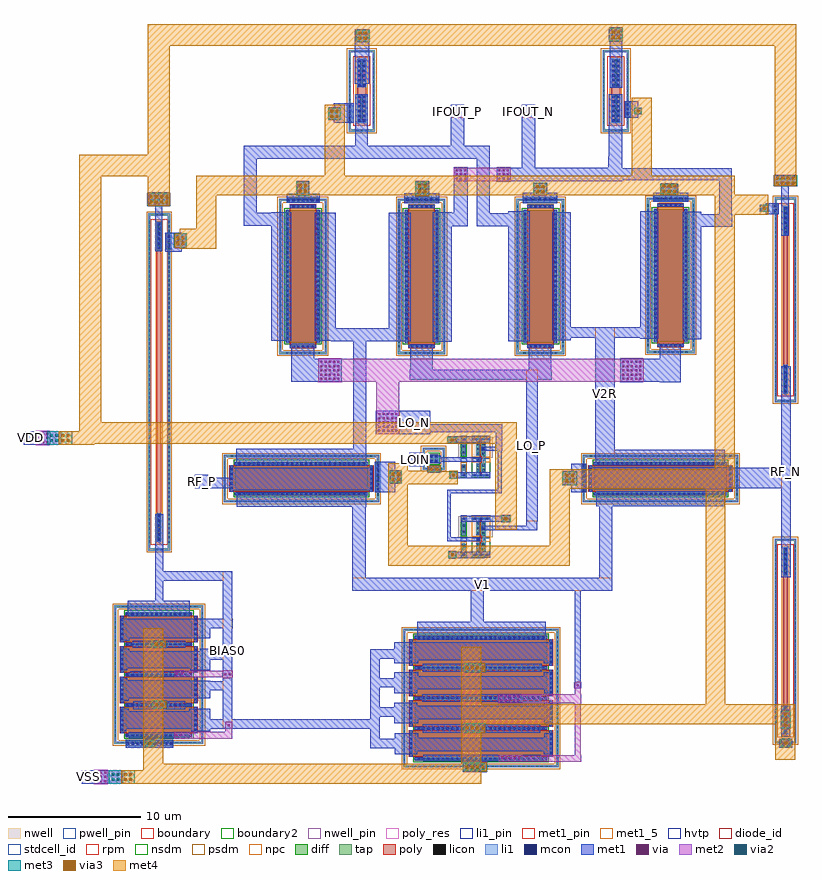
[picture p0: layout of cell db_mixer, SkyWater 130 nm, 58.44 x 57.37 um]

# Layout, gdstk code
from math import pi, radians
import gdstk
lib = gdstk.Library(unit=1e-6, precision=1e-09)
def R(c, l, rs):  # rectangles x0, y0, x1, y1
    for r in rs: c.add(gdstk.rectangle(r[:2], r[2:], *l))
def A(c, l, x, y, w, h, nx, ny, dx, dy):  # array of equal rectangles
    R(c, l, [(x+i*dx, y+j*dy, x+i*dx+w, y+j*dy+h) for i in range(nx) for j in range(ny)])
def P(c, l, *ps):  # polygons
    for p in ps: c.add(gdstk.Polygon(p, *l))
nwell_pin = (64, 16)
nwell = (64, 20)
diff = (65, 20)
tap = (65, 44)
poly_res = (66, 13)
poly = (66, 20)
licon = (66, 44)
li1_pin = (67, 16)
li1 = (67, 20)
mcon = (67, 44)
met1_5 = (68, 5)
met1_pin = (68, 16)
met1 = (68, 20)
via = (68, 44)
met2 = (69, 20)
via2 = (69, 44)
met3 = (70, 20)
via3 = (70, 44)
met4 = (71, 20)
hvtp = (78, 44)
stdcell_id = (81, 4)
diode_id = (81, 23)
rpm = (86, 20)
nsdm = (93, 44)
psdm = (94, 20)
npc = (95, 20)
pwell_pin = (122, 16)
boundary = (235, 4)
boundary2 = (236, 0)

sky130_fd_pr__res_high_p = lib.new_cell('sky130_fd_pr__res_high_po_0p35_FFK5MY')
R(sky130_fd_pr__res_high_p, tap, [(-0.825,-7.73,0.825,-7.56), (-0.825,-7.56,-0.655,7.56), (0.655,-7.56,0.825,7.56), (-0.825,7.56,0.825,7.73)])
R(sky130_fd_pr__res_high_p, poly_res, [(-0.175,-5,0.175,5)])
R(sky130_fd_pr__res_high_p, poly, [(-0.175,-7.08,0.175,7.08)])
A(sky130_fd_pr__res_high_p, licon, -0.825, -7.225, 0.17, 0.17, 1, 43, 0, 0.34)
A(sky130_fd_pr__res_high_p, licon, 0.655, -7.225, 0.17, 0.17, 1, 43, 0, 0.34)
R(sky130_fd_pr__res_high_p, licon, [(-0.255,-7.73,-0.085,-7.56), (0.085,-7.73,0.255,-7.56), (-0.095,-7,0.095,-5), (-0.095,5,0.095,7), (-0.255,7.56,-0.085,7.73), (0.085,7.56,0.255,7.73)])
R(sky130_fd_pr__res_high_p, li1, [(-0.825,-7.73,0.825,-7.56), (-0.825,-7.56,-0.655,7.56), (0.655,-7.56,0.825,7.56), (-0.175,-7.08,0.175,-4.92), (-0.175,4.92,0.175,7.08), (-0.825,7.56,0.825,7.73)])
A(sky130_fd_pr__res_high_p, mcon, -0.085, -6.985, 0.17, 0.17, 1, 6, 0, 0.36)
A(sky130_fd_pr__res_high_p, mcon, -0.085, 5.01, 0.17, 0.17, 1, 6, 0, 0.36)
R(sky130_fd_pr__res_high_p, met1, [(-0.125,-7.05,0.125,-4.945), (-0.125,4.945,0.125,7.05)])
R(sky130_fd_pr__res_high_p, rpm, [(-0.635,-7.28,0.635,7.28)])
R(sky130_fd_pr__res_high_p, psdm, [(-0.95,-7.855,0.95,7.855)])
R(sky130_fd_pr__res_high_p, npc, [(-0.27,-7.175,0.27,7.175)])
R(sky130_fd_pr__res_high_p, boundary, [(-0.74,-7.645,0.74,7.645)])

c_sky130_fd_pr__res_high_p = lib.new_cell('sky130_fd_pr__res_high_po_0p35_QPS5FG')
R(c_sky130_fd_pr__res_high_p, tap, [(-0.825,-12.73,0.825,-12.56), (-0.825,-12.56,-0.655,12.56), (0.655,-12.56,0.825,12.56), (-0.825,12.56,0.825,12.73)])
R(c_sky130_fd_pr__res_high_p, poly_res, [(-0.175,-10,0.175,10)])
R(c_sky130_fd_pr__res_high_p, poly, [(-0.175,-12.08,0.175,12.08)])
A(c_sky130_fd_pr__res_high_p, licon, -0.825, -12.155, 0.17, 0.17, 1, 72, 0, 0.34)
A(c_sky130_fd_pr__res_high_p, licon, 0.655, -12.155, 0.17, 0.17, 1, 72, 0, 0.34)
R(c_sky130_fd_pr__res_high_p, licon, [(-0.255,-12.73,-0.085,-12.56), (0.085,-12.73,0.255,-12.56), (-0.095,-12,0.095,-10), (-0.095,10,0.095,12), (-0.255,12.56,-0.085,12.73), (0.085,12.56,0.255,12.73)])
R(c_sky130_fd_pr__res_high_p, li1, [(-0.825,-12.73,0.825,-12.56), (-0.825,-12.56,-0.655,12.56), (0.655,-12.56,0.825,12.56), (-0.175,-12.08,0.175,-9.92), (-0.175,9.92,0.175,12.08), (-0.825,12.56,0.825,12.73)])
A(c_sky130_fd_pr__res_high_p, mcon, -0.085, -11.985, 0.17, 0.17, 1, 6, 0, 0.36)
A(c_sky130_fd_pr__res_high_p, mcon, -0.085, 10.01, 0.17, 0.17, 1, 6, 0, 0.36)
R(c_sky130_fd_pr__res_high_p, met1, [(-0.125,-12.05,0.125,-9.945), (-0.125,9.945,0.125,12.05)])
R(c_sky130_fd_pr__res_high_p, rpm, [(-0.635,-12.28,0.635,12.28)])
R(c_sky130_fd_pr__res_high_p, psdm, [(-0.95,-12.855,0.95,12.855)])
R(c_sky130_fd_pr__res_high_p, npc, [(-0.27,-12.175,0.27,12.175)])
R(c_sky130_fd_pr__res_high_p, boundary, [(-0.74,-12.645,0.74,12.645)])

c_sky130_fd_pr__res_high_p_ = lib.new_cell('sky130_fd_pr__res_high_po_0p69_ZKG2N9')
R(c_sky130_fd_pr__res_high_p_, tap, [(-0.995,-3.075,0.995,-2.905), (-0.995,-2.905,-0.825,2.905), (0.825,-2.905,0.995,2.905), (-0.995,2.905,0.995,3.075)])
R(c_sky130_fd_pr__res_high_p_, poly_res, [(-0.345,-0.345,0.345,0.345)])
R(c_sky130_fd_pr__res_high_p_, poly, [(-0.345,-2.425,0.345,2.425)])
A(c_sky130_fd_pr__res_high_p_, licon, -0.425, -3.075, 0.17, 0.17, 3, 2, 0.34, 5.98)
A(c_sky130_fd_pr__res_high_p_, licon, -0.995, -2.465, 0.17, 0.17, 1, 15, 0, 0.34)
A(c_sky130_fd_pr__res_high_p_, licon, 0.825, -2.465, 0.17, 0.17, 1, 15, 0, 0.34)
R(c_sky130_fd_pr__res_high_p_, licon, [(-0.095,-2.345,0.095,-0.345), (-0.095,0.345,0.095,2.345)])
R(c_sky130_fd_pr__res_high_p_, li1, [(-0.995,-3.075,0.995,-2.905), (-0.995,-2.905,-0.825,2.905), (0.825,-2.905,0.995,2.905), (-0.345,-2.425,0.345,-0.265), (-0.345,0.265,0.345,2.425), (-0.995,2.905,0.995,3.075)])
A(c_sky130_fd_pr__res_high_p_, mcon, -0.265, -2.33, 0.17, 0.17, 1, 6, 0, 0.36)
A(c_sky130_fd_pr__res_high_p_, mcon, 0.095, -2.33, 0.17, 0.17, 1, 6, 0, 0.36)
A(c_sky130_fd_pr__res_high_p_, mcon, -0.265, 0.355, 0.17, 0.17, 1, 6, 0, 0.36)
A(c_sky130_fd_pr__res_high_p_, mcon, 0.095, 0.355, 0.17, 0.17, 1, 6, 0, 0.36)
R(c_sky130_fd_pr__res_high_p_, met1, [(-0.295,-2.395,0.295,-0.29), (-0.295,0.29,0.295,2.395)])
R(c_sky130_fd_pr__res_high_p_, rpm, [(-0.635,-2.625,0.635,2.625)])
R(c_sky130_fd_pr__res_high_p_, psdm, [(-1.12,-3.2,1.12,3.2)])
R(c_sky130_fd_pr__res_high_p_, npc, [(-0.44,-2.52,0.44,2.52)])
R(c_sky130_fd_pr__res_high_p_, boundary, [(-0.91,-2.99,0.91,2.99)])

sky130_fd_pr__nfet_01v8_ = lib.new_cell('sky130_fd_pr__nfet_01v8_NXKS9S')
R(sky130_fd_pr__nfet_01v8_, diff, [(-1.29,-5,1.29,5)])
R(sky130_fd_pr__nfet_01v8_, tap, [(-1.8,-5.87,1.8,-5.7), (-1.8,-5.7,-1.63,5.7), (1.63,-5.7,1.8,5.7), (-1.8,5.7,1.8,5.87)])
R(sky130_fd_pr__nfet_01v8_, poly, [(-1,-5.44,1,5.44)])
A(sky130_fd_pr__nfet_01v8_, licon, -1.275, -5.87, 0.17, 0.17, 8, 2, 0.34, 11.57)
A(sky130_fd_pr__nfet_01v8_, licon, -0.765, -5.36, 0.17, 0.17, 5, 2, 0.34, 10.55)
A(sky130_fd_pr__nfet_01v8_, licon, -1.8, -5.355, 0.17, 0.17, 1, 32, 0, 0.34)
A(sky130_fd_pr__nfet_01v8_, licon, 1.63, -5.355, 0.17, 0.17, 1, 32, 0, 0.34)
A(sky130_fd_pr__nfet_01v8_, licon, -1.23, -4.845, 0.17, 0.17, 1, 29, 0, 0.34)
A(sky130_fd_pr__nfet_01v8_, licon, 1.06, -4.845, 0.17, 0.17, 1, 29, 0, 0.34)
R(sky130_fd_pr__nfet_01v8_, li1, [(-1.8,-5.87,1.8,-5.7), (-1.8,-5.7,-1.63,5.7), (1.63,-5.7,1.8,5.7), (-1,-5.36,1,-5.19), (-1.23,-5.02,-1.06,5.02), (1.06,-5.02,1.23,5.02), (-1,5.19,1,5.36), (-1.8,5.7,1.8,5.87)])
A(sky130_fd_pr__nfet_01v8_, mcon, -0.805, -5.36, 0.17, 0.17, 5, 2, 0.36, 10.55)
A(sky130_fd_pr__nfet_01v8_, mcon, -1.23, -4.765, 0.17, 0.17, 1, 27, 0, 0.36)
A(sky130_fd_pr__nfet_01v8_, mcon, 1.06, -4.765, 0.17, 0.17, 1, 27, 0, 0.36)
R(sky130_fd_pr__nfet_01v8_, met1, [(-0.98,-5.39,0.98,-5.16), (-1.26,-5,-1.03,5), (1.03,-5,1.26,5), (-0.98,5.16,0.98,5.39)])
R(sky130_fd_pr__nfet_01v8_, nsdm, [(-1.415,-5.125,1.415,5.125)])
R(sky130_fd_pr__nfet_01v8_, psdm, [(-1.925,-5.995,1.925,-5.575), (-1.925,-5.575,-1.505,5.575), (1.505,-5.575,1.925,5.575), (-1.925,5.575,1.925,5.995)])
R(sky130_fd_pr__nfet_01v8_, npc, [(-0.865,-5.46,0.865,-5.09), (-0.865,5.09,0.865,5.46)])
R(sky130_fd_pr__nfet_01v8_, boundary, [(-1.71,-5.78,1.71,5.78)])

c_sky130_fd_pr__nfet_01v8_ = lib.new_cell('sky130_fd_pr__nfet_01v8_X7BG72')
R(c_sky130_fd_pr__nfet_01v8_, diff, [(-4.725,-5,4.725,5)])
R(c_sky130_fd_pr__nfet_01v8_, tap, [(-5.235,-5.87,5.235,-5.7), (-5.235,-5.7,-5.065,5.7), (5.065,-5.7,5.235,5.7), (-5.235,5.7,5.235,5.87)])
A(c_sky130_fd_pr__nfet_01v8_, poly, -4.435, -5.44, 2, 10.88, 4, 1, 2.29, 0)
A(c_sky130_fd_pr__nfet_01v8_, licon, -4.675, -5.87, 0.17, 0.17, 28, 2, 0.34, 11.57)
A(c_sky130_fd_pr__nfet_01v8_, licon, -4.2, -5.36, 0.17, 0.17, 5, 2, 0.34, 10.55)
A(c_sky130_fd_pr__nfet_01v8_, licon, -1.91, -5.36, 0.17, 0.17, 5, 2, 0.34, 10.55)
A(c_sky130_fd_pr__nfet_01v8_, licon, 0.38, -5.36, 0.17, 0.17, 5, 2, 0.34, 10.55)
A(c_sky130_fd_pr__nfet_01v8_, licon, 2.67, -5.36, 0.17, 0.17, 5, 2, 0.34, 10.55)
A(c_sky130_fd_pr__nfet_01v8_, licon, -5.235, -5.355, 0.17, 0.17, 1, 32, 0, 0.34)
A(c_sky130_fd_pr__nfet_01v8_, licon, 5.065, -5.355, 0.17, 0.17, 1, 32, 0, 0.34)
A(c_sky130_fd_pr__nfet_01v8_, licon, -4.665, -4.845, 0.17, 0.17, 5, 29, 2.29, 0.34)
A(c_sky130_fd_pr__nfet_01v8_, li1, -4.435, -5.36, 2, 0.17, 4, 2, 2.29, 10.55)
A(c_sky130_fd_pr__nfet_01v8_, li1, -4.665, -5.02, 0.17, 10.04, 5, 1, 2.29, 0)
R(c_sky130_fd_pr__nfet_01v8_, li1, [(-5.235,-5.87,5.235,-5.7), (-5.235,-5.7,-5.065,5.7), (5.065,-5.7,5.235,5.7), (-5.235,5.7,5.235,5.87)])
A(c_sky130_fd_pr__nfet_01v8_, mcon, -4.24, -5.36, 0.17, 0.17, 5, 2, 0.36, 10.55)
A(c_sky130_fd_pr__nfet_01v8_, mcon, -1.95, -5.36, 0.17, 0.17, 5, 2, 0.36, 10.55)
A(c_sky130_fd_pr__nfet_01v8_, mcon, 0.34, -5.36, 0.17, 0.17, 5, 2, 0.36, 10.55)
A(c_sky130_fd_pr__nfet_01v8_, mcon, 2.63, -5.36, 0.17, 0.17, 5, 2, 0.36, 10.55)
A(c_sky130_fd_pr__nfet_01v8_, mcon, -4.665, -4.765, 0.17, 0.17, 5, 27, 2.29, 0.36)
A(c_sky130_fd_pr__nfet_01v8_, met1, -4.415, -5.39, 1.96, 0.23, 4, 2, 2.29, 10.55)
A(c_sky130_fd_pr__nfet_01v8_, met1, -4.695, -5, 0.23, 10, 5, 1, 2.29, 0)
R(c_sky130_fd_pr__nfet_01v8_, nsdm, [(-4.85,-5.125,4.85,5.125)])
R(c_sky130_fd_pr__nfet_01v8_, psdm, [(-5.36,-5.995,5.36,-5.575), (-5.36,-5.575,-4.94,5.575), (4.94,-5.575,5.36,5.575), (-5.36,5.575,5.36,5.995)])
A(c_sky130_fd_pr__nfet_01v8_, npc, -4.3, -5.46, 1.73, 0.37, 4, 2, 2.29, 10.55)
R(c_sky130_fd_pr__nfet_01v8_, boundary, [(-5.15,-5.785,5.15,5.785)])

c_sky130_fd_pr__nfet_01v8__ = lib.new_cell('sky130_fd_pr__nfet_01v8_WWWVRA')
R(c_sky130_fd_pr__nfet_01v8__, diff, [(-4.725,-2.5,4.725,2.5)])
R(c_sky130_fd_pr__nfet_01v8__, tap, [(-5.235,-3.37,5.235,-3.2), (-5.235,-3.2,-5.065,3.2), (5.065,-3.2,5.235,3.2), (-5.235,3.2,5.235,3.37)])
A(c_sky130_fd_pr__nfet_01v8__, poly, -4.435, -2.94, 2, 5.88, 4, 1, 2.29, 0)
A(c_sky130_fd_pr__nfet_01v8__, licon, -4.675, -3.37, 0.17, 0.17, 28, 2, 0.34, 6.57)
A(c_sky130_fd_pr__nfet_01v8__, licon, -4.2, -2.86, 0.17, 0.17, 5, 2, 0.34, 5.55)
A(c_sky130_fd_pr__nfet_01v8__, licon, -1.91, -2.86, 0.17, 0.17, 5, 2, 0.34, 5.55)
A(c_sky130_fd_pr__nfet_01v8__, licon, 0.38, -2.86, 0.17, 0.17, 5, 2, 0.34, 5.55)
A(c_sky130_fd_pr__nfet_01v8__, licon, 2.67, -2.86, 0.17, 0.17, 5, 2, 0.34, 5.55)
A(c_sky130_fd_pr__nfet_01v8__, licon, -5.235, -2.805, 0.17, 0.17, 1, 17, 0, 0.34)
A(c_sky130_fd_pr__nfet_01v8__, licon, 5.065, -2.805, 0.17, 0.17, 1, 17, 0, 0.34)
A(c_sky130_fd_pr__nfet_01v8__, licon, -4.665, -2.295, 0.17, 0.17, 5, 14, 2.29, 0.34)
A(c_sky130_fd_pr__nfet_01v8__, li1, -4.435, -2.86, 2, 0.17, 4, 2, 2.29, 5.55)
A(c_sky130_fd_pr__nfet_01v8__, li1, -4.665, -2.52, 0.17, 5.04, 5, 1, 2.29, 0)
R(c_sky130_fd_pr__nfet_01v8__, li1, [(-5.235,-3.37,5.235,-3.2), (-5.235,-3.2,-5.065,3.2), (5.065,-3.2,5.235,3.2), (-5.235,3.2,5.235,3.37)])
A(c_sky130_fd_pr__nfet_01v8__, mcon, -4.24, -2.86, 0.17, 0.17, 5, 2, 0.36, 5.55)
A(c_sky130_fd_pr__nfet_01v8__, mcon, -1.95, -2.86, 0.17, 0.17, 5, 2, 0.36, 5.55)
A(c_sky130_fd_pr__nfet_01v8__, mcon, 0.34, -2.86, 0.17, 0.17, 5, 2, 0.36, 5.55)
A(c_sky130_fd_pr__nfet_01v8__, mcon, 2.63, -2.86, 0.17, 0.17, 5, 2, 0.36, 5.55)
A(c_sky130_fd_pr__nfet_01v8__, mcon, -4.665, -2.425, 0.17, 0.17, 5, 14, 2.29, 0.36)
A(c_sky130_fd_pr__nfet_01v8__, met1, -4.415, -2.89, 1.96, 0.23, 4, 2, 2.29, 5.55)
A(c_sky130_fd_pr__nfet_01v8__, met1, -4.695, -2.5, 0.23, 5, 5, 1, 2.29, 0)
R(c_sky130_fd_pr__nfet_01v8__, nsdm, [(-4.85,-2.625,4.85,2.625)])
R(c_sky130_fd_pr__nfet_01v8__, psdm, [(-5.36,-3.495,5.36,-3.075), (-5.36,-3.075,-4.94,3.075), (4.94,-3.075,5.36,3.075), (-5.36,3.075,5.36,3.495)])
A(c_sky130_fd_pr__nfet_01v8__, npc, -4.3, -2.96, 1.73, 0.37, 4, 2, 2.29, 5.55)
R(c_sky130_fd_pr__nfet_01v8__, boundary, [(-5.15,-3.285,5.15,3.285)])

sky130_fd_sc_hd__inv_1 = lib.new_cell('sky130_fd_sc_hd__inv_1')
R(sky130_fd_sc_hd__inv_1, nwell_pin, [(0.145,2.635,0.315,2.805), (0.145,2.635,0.315,2.805)])
R(sky130_fd_sc_hd__inv_1, nwell, [(-0.19,1.305,1.57,2.91)])
R(sky130_fd_sc_hd__inv_1, diff, [(0.34,0.235,1.01,0.885), (0.34,1.485,1.01,2.485)])
P(sky130_fd_sc_hd__inv_1, poly, [(0.75,2.615),(0.6,2.615),(0.6,1.325),(0.32,1.325),(0.32,0.995),(0.6,0.995),(0.6,0.105),(0.75,0.105)])
A(sky130_fd_sc_hd__inv_1, licon, 0.38, 1.575, 0.17, 0.17, 1, 3, 0, 0.34)
A(sky130_fd_sc_hd__inv_1, licon, 0.8, 1.575, 0.17, 0.17, 1, 3, 0, 0.34)
R(sky130_fd_sc_hd__inv_1, licon, [(0.38,0.315,0.55,0.485), (0.8,0.315,0.97,0.485), (0.38,0.655,0.55,0.825), (0.8,0.655,0.97,0.825), (0.4,1.075,0.57,1.245)])
R(sky130_fd_sc_hd__inv_1, li1_pin, [(0.36,1.105,0.53,1.275), (0.82,1.105,0.99,1.275), (0.82,1.445,0.99,1.615)])
R(sky130_fd_sc_hd__inv_1, li1, [(0,-0.085,1.38,0.085), (0.32,0.005,0.55,0.905), (0.32,1.075,0.65,1.315), (0.34,1.495,0.55,2.675), (0,2.635,1.38,2.805)])
P(sky130_fd_sc_hd__inv_1, li1, [(1.05,2.465),(0.72,2.465),(0.72,1.485),(0.82,1.485),(0.82,0.885),(0.72,0.885),(0.72,0.255),(1.05,0.255)])
A(sky130_fd_sc_hd__inv_1, mcon, 0.145, -0.085, 0.17, 0.17, 3, 2, 0.46, 2.72)
R(sky130_fd_sc_hd__inv_1, met1_pin, [(0.145,-0.085,0.315,0.085), (0.145,-0.085,0.315,0.085), (0.145,2.635,0.315,2.805), (0.145,2.635,0.315,2.805)])
R(sky130_fd_sc_hd__inv_1, hvtp, [(0,1.25,1.38,2.72)])
R(sky130_fd_sc_hd__inv_1, stdcell_id, [(0,0,1.38,2.72)])
R(sky130_fd_sc_hd__inv_1, nsdm, [(0,-0.19,1.38,1.015)])
R(sky130_fd_sc_hd__inv_1, psdm, [(0,1.355,1.38,2.91)])
R(sky130_fd_sc_hd__inv_1, npc, [(0,0.975,1.38,1.345)])
R(sky130_fd_sc_hd__inv_1, pwell_pin, [(0.145,-0.085,0.315,0.085), (0.145,-0.085,0.315,0.085)])
R(sky130_fd_sc_hd__inv_1, boundary2, [(0,0,1.38,2.72)])
sky130_fd_sc_hd__inv_1.add(gdstk.FlexPath([(0,2.72),(1.38,2.72)], 0.48, ends="flush", simple_path=True, layer=68, datatype=20))  # met1
sky130_fd_sc_hd__inv_1.add(gdstk.FlexPath([(0,0),(1.38,0)], 0.48, ends="flush", simple_path=True, layer=68, datatype=20))  # met1
sky130_fd_sc_hd__inv_1.add(gdstk.Label('Y', (0.905,1.53), layer=67, texttype=5))
sky130_fd_sc_hd__inv_1.add(gdstk.Label('Y', (0.905,1.19), layer=67, texttype=5))
sky130_fd_sc_hd__inv_1.add(gdstk.Label('A', (0.445,1.19), layer=67, texttype=5))
sky130_fd_sc_hd__inv_1.add(gdstk.Label('VPB', (0.23,2.72), layer=64, texttype=5))
sky130_fd_sc_hd__inv_1.add(gdstk.Label('VNB', (0.23,0), layer=64, texttype=59))
sky130_fd_sc_hd__inv_1.add(gdstk.Label('VGND', (0.23,0), layer=68, texttype=5))
sky130_fd_sc_hd__inv_1.add(gdstk.Label('VPWR', (0.23,2.72), layer=68, texttype=5))
sky130_fd_sc_hd__inv_1.add(gdstk.Label('inv_1', (0,0), layer=83, texttype=44))

sky130_fd_sc_hd__tapvpwr = lib.new_cell('sky130_fd_sc_hd__tapvpwrvgnd_1')
R(sky130_fd_sc_hd__tapvpwr, nwell, [(-0.19,1.305,0.65,2.91)])
R(sky130_fd_sc_hd__tapvpwr, tap, [(0.145,0.32,0.315,0.845), (0.145,1.525,0.315,2.4)])
R(sky130_fd_sc_hd__tapvpwr, licon, [(0.145,0.555,0.315,0.725), (0.145,1.645,0.315,1.815), (0.145,2.11,0.315,2.28)])
R(sky130_fd_sc_hd__tapvpwr, li1, [(0,-0.085,0.46,0.085), (0.085,0,0.375,0.81), (0.085,1.47,0.375,2.72), (0,2.635,0.46,2.805)])
R(sky130_fd_sc_hd__tapvpwr, mcon, [(0.145,-0.085,0.315,0.085), (0.145,2.635,0.315,2.805)])
R(sky130_fd_sc_hd__tapvpwr, met1_pin, [(0.105,-0.09,0.36,0.1), (0.11,2.62,0.375,2.765)])
R(sky130_fd_sc_hd__tapvpwr, met1, [(0,-0.24,0.46,0.24), (0,2.48,0.46,2.96)])
R(sky130_fd_sc_hd__tapvpwr, hvtp, [(0,1.25,0.46,2.72)])
R(sky130_fd_sc_hd__tapvpwr, stdcell_id, [(0,0,0.46,2.72)])
R(sky130_fd_sc_hd__tapvpwr, nsdm, [(0,-0.19,0.46,0.19), (0,1.395,0.46,2.53)])
R(sky130_fd_sc_hd__tapvpwr, psdm, [(0,0.19,0.46,0.975), (0,2.53,0.46,2.91)])
sky130_fd_sc_hd__tapvpwr.add(gdstk.Label('VPWR', (0.23,2.72), layer=68, texttype=5))
sky130_fd_sc_hd__tapvpwr.add(gdstk.Label('VGND', (0.23,0), layer=68, texttype=5))
sky130_fd_sc_hd__tapvpwr.add(gdstk.Label('tapvpwrvgnd_1', (0,0), layer=83, texttype=44))

sky130_fd_pr__diode_pw2n = lib.new_cell('sky130_fd_pr__diode_pw2nd_05v5_7AM4WR')
R(sky130_fd_pr__diode_pw2n, diff, [(-0.33,-0.33,0.33,0.33)])
R(sky130_fd_pr__diode_pw2n, tap, [(-0.84,-0.84,0.84,-0.67), (-0.84,-0.67,-0.67,0.67), (0.67,-0.67,0.84,0.67), (-0.84,0.67,0.84,0.84)])
R(sky130_fd_pr__diode_pw2n, licon, [(-0.255,-0.84,-0.085,-0.67), (0.085,-0.84,0.255,-0.67), (-0.84,-0.255,-0.67,-0.085), (-0.255,-0.255,-0.085,-0.085), (0.085,-0.255,0.255,-0.085), (0.67,-0.255,0.84,-0.085), (-0.84,0.085,-0.67,0.255), (-0.255,0.085,-0.085,0.255), (0.085,0.085,0.255,0.255), (0.67,0.085,0.84,0.255), (-0.255,0.67,-0.085,0.84), (0.085,0.67,0.255,0.84)])
R(sky130_fd_pr__diode_pw2n, li1, [(-0.84,-0.84,0.84,-0.67), (-0.84,-0.67,-0.67,0.67), (0.67,-0.67,0.84,0.67), (-0.35,-0.27,0.35,0.27), (-0.84,0.67,0.84,0.84)])
R(sky130_fd_pr__diode_pw2n, mcon, [(-0.265,-0.265,-0.095,-0.095), (0.095,-0.265,0.265,-0.095), (-0.265,0.095,-0.095,0.265), (0.095,0.095,0.265,0.265)])
R(sky130_fd_pr__diode_pw2n, met1, [(-0.33,-0.3,0.33,0.3)])
R(sky130_fd_pr__diode_pw2n, diode_id, [(-0.33,-0.33,0.33,0.33)])
R(sky130_fd_pr__diode_pw2n, nsdm, [(-0.455,-0.455,0.455,0.455)])
R(sky130_fd_pr__diode_pw2n, psdm, [(-0.965,-0.965,0.965,-0.545), (-0.965,-0.545,-0.545,0.545), (0.545,-0.545,0.965,0.545), (-0.965,0.545,0.965,0.965)])
R(sky130_fd_pr__diode_pw2n, boundary, [(-0.75,-0.75,0.75,0.75)])

db_mixer = lib.new_cell('db_mixer')
R(db_mixer, diff, [(15.21,-16.73,15.5,-16.67)])
R(db_mixer, li1, [(36.87,-23.91,38.41,-23.53), (11.35,-22.21,14.82,-21.81), (60.7,-22.13,61.5,-21.73), (37.81,-6.685,37.98,-6.515), (38.21,-5.845,38.38,-5.675), (30.16,-2.99,30.54,-0.81), (45.69,-2.97,46.01,-0.97), (34.13,-1.43,34.96,-1.12), (37.81,-0.685,37.98,-0.515), (38.21,0.155,38.38,0.325), (14.34,15.29,14.76,16.5), (60.07,18.02,60.53,18.72), (23.49,18.85,25.85,19.18), (41.33,18.85,43.81,19.24), (32.39,18.88,34.88,19.23), (51.17,18.94,53.7,19.34), (27.99,24.92,28.39,26.22), (49.01,25.31,49.36,26.41)])
A(db_mixer, mcon, 37.015, -23.805, 0.17, 0.17, 4, 1, 0.36, 0)
A(db_mixer, mcon, 11.38, -22.095, 0.17, 0.17, 10, 1, 0.36, 0)
A(db_mixer, mcon, 45.765, -2.955, 0.17, 0.17, 1, 6, 0, 0.36)
A(db_mixer, mcon, 30.265, -2.885, 0.17, 0.17, 1, 6, 0, 0.36)
A(db_mixer, mcon, 14.465, 15.45, 0.17, 0.17, 1, 3, 0, 0.36)
A(db_mixer, mcon, 23.505, 18.93, 0.17, 0.17, 7, 1, 0.36, 0)
A(db_mixer, mcon, 41.405, 18.96, 0.17, 0.17, 7, 1, 0.36, 0)
A(db_mixer, mcon, 32.47, 18.97, 0.17, 0.17, 7, 1, 0.36, 0)
A(db_mixer, mcon, 51.27, 19.055, 0.17, 0.17, 7, 1, 0.36, 0)
A(db_mixer, mcon, 28.105, 24.945, 0.17, 0.17, 1, 4, 0, 0.36)
A(db_mixer, mcon, 49.1, 25.415, 0.17, 0.17, 1, 3, 0, 0.36)
R(db_mixer, mcon, [(60.835,-22.015,61.005,-21.845), (61.195,-22.015,61.365,-21.845), (37.81,-6.685,37.98,-6.515), (38.21,-5.845,38.38,-5.675), (34.28,-1.36,34.45,-1.19), (34.64,-1.36,34.81,-1.19), (37.81,-0.685,37.98,-0.515), (38.21,0.155,38.38,0.325), (60.215,18.105,60.385,18.275), (60.215,18.465,60.385,18.635)])
R(db_mixer, met1_5, [(18.625,-20.885,19.335,-9.025), (28.4,-10.49,48.005,-9.5), (60.75,-9.47,61.5,6.47), (41.53,-5.25,42.37,6.2), (46.73,-0.53,48.19,9.42), (31.945,1.345,34.275,3.095)])
R(db_mixer, met1_pin, [(7.97,-25.04,8.97,-24.04), (16.5,-2.73,17.5,-1.73), (32.68,-1.08,33.68,-0.08), (3.6,0.55,4.6,1.55), (35.82,25.22,36.82,26.22), (41.19,25.22,42.19,26.22)])
R(db_mixer, met1, [(7.97,-25.04,9.94,-24.04), (36.72,-24.12,38.58,-23.49), (33.73,-23.35,42.62,-22.88), (31.58,-22.81,33.3,-22.61), (42.85,-22.81,43.52,-22.61), (31.58,-22.61,43.52,-22.375), (29.755,-22.375,43.52,-21.665), (11.3,-22.35,14.88,-21.74), (60.62,-22.35,61.61,-21.64), (29.755,-21.665,30.465,-20.885), (31.58,-21.665,43.52,-21.59), (11.52,-21.6,16.06,-21.16), (31.58,-21.59,33.36,-21.24), (42.86,-21.59,43.52,-21.24), (60.76,-21.5,61.43,-20.87), (33.72,-21.22,42.57,-20.56), (10.86,-21.1,11.32,-20.89), (16.24,-21.1,17.65,-20.89), (10.86,-20.89,17.65,-20.885), (18.78,-20.89,19.34,-20.885), (10.86,-20.885,30.465,-20.175), (60.71,-20.87,61.48,-19.55), (36.81,-20.56,38.47,-20.52), (31.57,-20.5,33.36,-20.18), (42.86,-20.5,43.51,-20.18), (31.57,-20.18,43.51,-20.005), (10.86,-20.175,17.65,-19.58), (18.625,-20.175,19.335,-18.005), (29.755,-20.175,30.465,-20.005), (29.755,-20.005,43.51,-19.295), (10.86,-19.58,11.52,-19.39), (16.08,-19.58,17.65,-19.39), (60.76,-19.55,61.43,-19.16), (11.86,-19.41,15.76,-18.84), (29.755,-19.295,30.465,-17.785), (31.57,-19.295,43.51,-19.16), (31.57,-19.16,33.28,-18.93), (42.87,-19.16,43.51,-18.93), (39.35,-18.89,41.2,-18.88), (33.65,-18.88,42.66,-18.3), (13.24,-18.84,14.37,-18.82), (10.86,-18.78,11.52,-18.6), (10.86,-18.6,17.66,-18.005), (31.57,-18.22,33.28,-17.93), (42.87,-18.22,43.51,-17.93), (10.86,-18.005,19.335,-17.295), (31.57,-17.93,43.51,-17.785), (45.13,-17.86,45.67,-17.38), (29.755,-17.785,43.51,-17.075), (45.16,-17.38,45.64,-10.49), (10.86,-17.295,17.66,-17.29), (18.625,-17.295,19.335,-17.02), (10.86,-17.29,16.15,-17.25), (10.86,-17.25,11.41,-17.1), (29.755,-17.075,30.465,-15.615), (31.57,-17.075,43.51,-16.93), (18.58,-17.02,19.36,-16.52), (11.61,-16.98,16,-16.94), (11.45,-16.94,16.17,-16.69), (31.57,-16.93,33.36,-16.65), (42.82,-16.93,43.51,-16.65), (11.61,-16.69,16,-16.54), (33.7,-16.61,42.67,-15.99), (18.625,-16.52,19.335,-15.705), (10.86,-16.5,11.38,-16.35), (16.17,-16.5,17.67,-16.35), (10.86,-16.35,17.67,-15.705), (36.83,-15.99,38.45,-15.97), (31.57,-15.94,33.36,-15.74), (42.82,-15.94,43.51,-15.74), (31.57,-15.74,43.51,-15.615), (10.86,-15.705,19.335,-15.04), (29.755,-15.615,43.51,-14.905), (10.86,-15.04,11.54,-14.85), (16.86,-15.04,19.335,-14.995), (16.86,-14.995,17.67,-14.85), (18.625,-14.995,19.335,-13.32), (31.57,-14.905,43.51,-14.37), (11.83,-14.79,15.76,-14.26), (10.87,-14.24,11.54,-14.07), (33.28,-14.19,42.99,-12.82), (16.07,-14.08,17.68,-14.07), (10.87,-14.07,17.68,-13.32), (10.87,-13.32,19.35,-12.61), (37.335,-12.82,38.325,-10.49), (18.625,-12.61,19.335,-9.735), (11.42,-12.42,16.12,-11.22), (13.5,-11.22,14.12,-9.735), (28.4,-10.49,48.005,-9.5), (13.5,-9.735,19.335,-9.025), (28.4,-9.5,29.39,-4.14), (47.015,-9.5,48.005,-4.11), (60.75,-9.47,61.5,-2.76), (13.5,-9.025,14.12,-4.72), (35.69,-8.01,38.33,-8), (35.63,-8,38.33,-7.53), (35.55,-6.73,38.05,-6.45), (35.55,-6.45,35.83,-3.14), (41.53,-5.93,42.34,-5.92), (38.16,-5.92,42.34,-5.59), (41.53,-5.59,42.34,-5.25), (36.56,-5.28,40.36,-4.81), (41.53,-5.25,42.37,5.44), (19.66,-4.14,29.43,-3.03), (46.8,-4.11,56.49,-2.96), (35.55,-3.14,39.66,-2.86), (44.93,-3.06,46.05,-2.48), (30.09,-3.05,31.62,-2.35), (19.13,-2.89,29.94,-2.75), (39.38,-2.86,39.66,0.1), (46.23,-2.82,57.04,-2.76), (46.23,-2.76,61.5,-1.19), (17.39,-2.75,29.94,-2.73), (16.5,-2.73,29.94,-1.97), (44.22,-2.48,46.05,-1.48), (30.09,-2.35,32.11,-1.43), (35.77,-2,38.33,-1.99), (35.72,-1.99,38.33,-1.52), (16.5,-1.97,17.5,-1.73), (19.13,-1.97,29.94,-1.19), (34.04,-1.52,35.09,-1.05), (35.72,-1.52,36.32,-1.51), (44.93,-1.48,46.05,-0.91), (30.09,-1.43,31.62,-0.73), (46.23,-1.19,57.04,-1.16), (60.75,-1.19,61.5,6.47), (32.68,-1.08,33.68,-0.91), (19.62,-1.05,29.43,0.24), (34.08,-1.05,35.04,-1.04), (46.78,-1.02,56.52,-0.53), (32.68,-0.91,33.93,-0.87), (32.68,-0.87,35.11,-0.73), (32.68,-0.73,38.13,-0.39), (46.73,-0.53,56.52,0.16), (32.68,-0.39,35.11,-0.29), (32.68,-0.29,33.68,-0.08), (38.15,0.1,39.72,0.38), (46.73,0.16,48.19,8.61), (28.47,0.24,29.43,8.37), (39.21,0.38,39.7,1.49), (3.6,0.55,5.57,1.55), (35.56,0.68,37.77,1.12), (35.61,1.12,37.77,1.18), (30.165,1.345,34.275,1.49), (30.165,1.49,39.7,2.07), (30.165,2.07,34.275,3.095), (48.615,5.25,50.365,5.28), (51.58,5.27,53.19,5.28), (23.78,5.28,27.605,7.03), (48.615,5.28,53.19,7.03), (32.74,5.44,43.44,6.2), (32.75,6.2,34.45,8.12), (41.72,6.2,43.41,8.12), (23.78,7.03,25.53,8.16), (48.615,7.03,50.365,7.06), (51.58,7.03,53.19,8.15), (34.46,8.32,35.88,17.03), (40.14,8.36,41.78,17.02), (26.78,8.37,32.8,8.4), (22.26,8.39,23.79,17.07), (25.54,8.4,32.8,9.35), (43.48,8.42,44.88,8.61), (53.34,8.5,54.71,17.01), (50.11,8.53,51.48,8.61), (43.48,8.61,51.48,9.42), (25.54,9.35,27.14,18.07), (31.15,9.35,32.8,18.05), (43.48,9.42,44.88,18.09), (50.11,9.42,51.48,18.15), (14.28,15.11,15.53,15.43), (13.52,15.14,14.04,18.58), (14.28,15.43,15.89,16.47), (60.78,16.33,61.35,20.09), (14.28,16.47,15.53,16.54), (53.34,17.01,57.06,17.94), (37.79,17.02,41.78,18), (34.46,17.03,37.1,18.07), (20.21,17.07,23.79,18.05), (59.58,17.93,60.59,18.17), (53.34,17.94,54.71,18.14), (56.105,17.94,57.035,20.495), (37.79,18,38.77,22.13), (40.14,18,41.78,18.15), (20.21,18.05,21.19,22.13), (22.26,18.05,23.79,18.1), (34.46,18.07,35.88,18.09), (36.06,18.07,37.1,21.49), (59.16,18.17,60.59,18.62), (12.92,18.58,14.66,19.54), (59.58,18.62,60.59,18.76), (32.3,18.78,34.94,19.51), (41.27,18.78,43.87,19.56), (23.43,18.8,25.92,19.5), (51.09,18.88,53.76,19.56), (24.17,19.5,25.14,20.41), (33.14,19.51,34.2,20.42), (42.03,19.56,43.1,20.28), (51.64,19.56,52.98,20.23), (60.19,20.09,61.96,20.86), (39.29,20.39,40.33,20.42), (39.29,20.42,48.76,20.495), (39.29,20.495,57.035,21.425), (39.29,21.425,48.76,21.46), (39.29,21.46,40.33,21.49), (41.19,21.46,42.19,26.22), (47.72,21.46,48.76,22.28), (28.62,22.12,29.57,22.13), (20.21,22.13,38.77,23.11), (47.73,22.28,48.75,27.01), (28.62,23.11,29.57,26.99), (35.82,23.11,36.82,26.22), (26.97,24.86,28.48,25.1), (26.56,25.1,28.48,25.95), (48.95,25.22,49.97,25.53), (48.95,25.53,50.25,25.94), (48.95,25.94,49.97,26.47), (26.97,25.95,28.48,26.3), (47.81,27.47,48.78,31.01), (28.57,27.79,29.68,30.99), (28.57,30.99,29.7,31.85), (47.74,31.01,48.82,31.99), (28.57,31.85,29.68,31.89), (47.81,31.99,48.78,32)])
A(db_mixer, via, 9.015, -24.935, 0.15, 0.15, 3, 3, 0.32, 0.32)
A(db_mixer, via, 36.935, -24.04, 0.15, 0.15, 5, 2, 0.32, 0.32)
A(db_mixer, via, 39.62, -23.2, 0.15, 0.15, 5, 1, 0.32, 0)
A(db_mixer, via, 36.925, -21.085, 0.15, 0.15, 5, 2, 0.32, 0.32)
A(db_mixer, via, 60.86, -20.765, 0.15, 0.15, 1, 4, 0, 0.32)
A(db_mixer, via, 61.18, -20.765, 0.15, 0.15, 1, 4, 0, 0.32)
A(db_mixer, via, 13.41, -19.165, 0.15, 0.15, 3, 1, 0.32, 0)
A(db_mixer, via, 39.56, -18.835, 0.15, 0.15, 5, 2, 0.32, 0.32)
A(db_mixer, via, 37.085, -16.525, 0.15, 0.15, 4, 2, 0.32, 0.32)
A(db_mixer, via, 13.39, -14.595, 0.15, 0.15, 3, 1, 0.32, 0)
A(db_mixer, via, 44.405, -2.375, 0.15, 0.15, 3, 3, 0.32, 0.32)
A(db_mixer, via, 31.43, -2.285, 0.15, 0.15, 1, 3, 0, 0.32)
A(db_mixer, via, 31.75, -2.285, 0.15, 0.15, 1, 3, 0, 0.32)
A(db_mixer, via, 34.17, -1.36, 0.15, 0.15, 3, 1, 0.32, 0)
A(db_mixer, via, 4.645, 0.655, 0.15, 0.15, 3, 3, 0.32, 0.32)
A(db_mixer, via, 30.355, 1.505, 0.15, 0.15, 5, 5, 0.32, 0.32)
A(db_mixer, via, 25.985, 5.44, 0.15, 0.15, 5, 5, 0.32, 0.32)
A(db_mixer, via, 48.775, 5.44, 0.15, 0.15, 5, 5, 0.32, 0.32)
A(db_mixer, via, 15.17, 15.555, 0.15, 0.15, 1, 3, 0, 0.32)
A(db_mixer, via, 15.49, 15.555, 0.15, 0.15, 1, 3, 0, 0.32)
A(db_mixer, via, 13.075, 18.665, 0.15, 0.15, 5, 3, 0.32, 0.32)
A(db_mixer, via, 33.275, 19.48, 0.15, 0.15, 3, 3, 0.32, 0.32)
A(db_mixer, via, 24.42, 19.495, 0.15, 0.15, 1, 3, 0, 0.32)
A(db_mixer, via, 24.74, 19.495, 0.15, 0.15, 1, 3, 0, 0.32)
A(db_mixer, via, 42.17, 19.6, 0.15, 0.15, 3, 2, 0.32, 0.32)
A(db_mixer, via, 51.755, 19.625, 0.15, 0.15, 4, 2, 0.32, 0.32)
A(db_mixer, via, 60.36, 20.24, 0.15, 0.15, 5, 2, 0.32, 0.32)
A(db_mixer, via, 36.185, 20.545, 0.15, 0.15, 3, 3, 0.32, 0.32)
A(db_mixer, via, 39.415, 20.545, 0.15, 0.15, 3, 3, 0.32, 0.32)
A(db_mixer, via, 47.885, 31.105, 0.15, 0.15, 3, 3, 0.32, 0.32)
A(db_mixer, via, 28.77, 31.185, 0.15, 0.15, 3, 2, 0.32, 0.32)
R(db_mixer, via, [(60.87,-22.205,61.02,-22.055), (61.19,-22.205,61.34,-22.055), (12.87,-22.095,13.02,-21.945), (13.19,-22.095,13.34,-21.945), (60.87,-21.885,61.02,-21.735), (61.19,-21.885,61.34,-21.735), (15.025,-21.455,15.175,-21.305), (15.345,-21.455,15.495,-21.305), (18.985,-20.715,19.135,-20.565), (45.325,-17.695,45.475,-17.545), (18.735,-16.845,18.885,-16.695), (19.055,-16.845,19.205,-16.695), (15.105,-16.83,15.255,-16.68), (15.425,-16.83,15.575,-16.68), (35.87,-7.84,36.02,-7.69), (39.755,-5.12,39.905,-4.97), (40.075,-5.12,40.225,-4.97), (35.945,-1.825,36.095,-1.675), (35.69,0.825,35.84,0.975), (36.01,0.825,36.16,0.975), (59.41,18.32,59.56,18.47), (26.805,25.29,26.955,25.44), (27.125,25.29,27.275,25.44), (26.805,25.61,26.955,25.76), (27.125,25.61,27.275,25.76), (49.885,25.66,50.035,25.81)])
R(db_mixer, met2, [(8.91,-25.07,9.91,-25.04), (8.91,-25.04,11.055,-24.04), (36.77,-24.17,38.53,-23.39), (8.91,-24.04,9.91,-24.01), (39.44,-23.4,41.23,-23.39), (39.44,-23.39,45.68,-22.91), (39.44,-22.91,41.23,-22.85), (45.16,-22.91,45.64,-18.96), (12.75,-22.33,13.46,-21.71), (60.78,-22.31,61.43,-21.63), (14.94,-21.65,15.58,-21.64), (14.94,-21.64,19.31,-21.14), (36.86,-21.23,38.42,-20.47), (14.94,-21.14,15.58,-21.11), (18.81,-21.14,19.31,-20.36), (60.76,-20.92,61.43,-19.5), (13.29,-19.41,14.32,-18.77), (39.41,-18.96,45.68,-18.94), (39.4,-18.94,45.68,-18.31), (39.4,-18.31,41.15,-18.26), (45.16,-18.31,45.64,-17.35), (18.63,-17.07,19.31,-17.02), (14.98,-17.02,19.35,-16.51), (36.88,-16.66,38.4,-15.92), (14.98,-16.51,15.7,-16.49), (18.63,-16.51,19.31,-16.47), (13.27,-14.81,14.3,-14.23), (35.68,-8.05,36.21,-7.48), (39.67,-5.33,40.31,-4.76), (44.27,-2.53,45.33,-1.43), (31.27,-2.4,32.06,-1.38), (35.77,-2.04,36.27,-1.46), (34.09,-1.57,35.04,-1), (4.54,0.52,5.54,0.55), (4.54,0.55,6.425,1.55), (35.61,0.63,36.24,1.17), (30.195,1.315,31.945,5.28), (4.54,1.55,5.54,1.58), (25.825,5.25,27.575,5.28), (25.825,5.28,50.395,7.03), (25.825,7.03,27.575,7.06), (14.97,15.38,15.84,16.52), (59.21,18.12,59.76,18.67), (12.97,18.53,14.61,19.59), (33.19,19.28,34.15,20.47), (24.22,19.32,25.09,20.46), (42.08,19.34,43.05,20.33), (51.69,19.44,52.93,20.28), (60.24,20.04,61.91,20.91), (36.03,20.42,40.36,21.46), (26.61,25.05,27.47,26), (49.72,25.48,50.2,25.99), (28.68,30.94,29.65,31.9), (47.79,30.96,48.77,32.04)])
A(db_mixer, via2, 36.95, -24.08, 0.2, 0.2, 4, 2, 0.4, 0.4)
A(db_mixer, via2, 36.94, -20.95, 0.2, 0.2, 4, 2, 0.4, 4.56)
A(db_mixer, via2, 60.995, -20.71, 0.2, 0.2, 1, 3, 0, 0.4)
A(db_mixer, via2, 13.09, 18.76, 0.2, 0.2, 4, 2, 0.4, 0.4)
A(db_mixer, via2, 33.37, 19.375, 0.2, 0.2, 1, 3, 0, 0.4)
A(db_mixer, via2, 33.77, 19.375, 0.2, 0.2, 1, 3, 0, 0.4)
A(db_mixer, via2, 51.81, 19.56, 0.2, 0.2, 3, 2, 0.4, 0.4)
A(db_mixer, via2, 60.375, 20.175, 0.2, 0.2, 4, 2, 0.4, 0.4)
R(db_mixer, via2, [(10.21,-24.84,10.41,-24.64), (10.61,-24.84,10.81,-24.64), (10.21,-24.44,10.41,-24.24), (10.61,-24.44,10.81,-24.24), (12.805,-22.12,13.005,-21.92), (13.205,-22.12,13.405,-21.92), (61.005,-22.07,61.205,-21.87), (13.505,-19.19,13.705,-18.99), (13.905,-19.19,14.105,-18.99), (13.485,-14.62,13.685,-14.42), (13.885,-14.62,14.085,-14.42), (35.845,-7.865,36.045,-7.665), (39.89,-5.145,40.09,-4.945), (44.5,-2.28,44.7,-2.08), (44.9,-2.28,45.1,-2.08), (31.365,-2.19,31.565,-1.99), (31.765,-2.19,31.965,-1.99), (44.5,-1.88,44.7,-1.68), (44.9,-1.88,45.1,-1.68), (35.92,-1.85,36.12,-1.65), (31.365,-1.79,31.565,-1.59), (31.765,-1.79,31.965,-1.59), (34.265,-1.385,34.465,-1.185), (34.665,-1.385,34.865,-1.185), (5.58,0.75,5.78,0.95), (5.98,0.75,6.18,0.95), (35.825,0.8,36.025,1), (5.58,1.15,5.78,1.35), (5.98,1.15,6.18,1.35), (15.105,15.65,15.305,15.85), (15.505,15.65,15.705,15.85), (15.105,16.05,15.305,16.25), (15.505,16.05,15.705,16.25), (59.385,18.295,59.585,18.495), (42.265,19.535,42.465,19.735), (42.665,19.535,42.865,19.735), (24.355,19.59,24.555,19.79), (24.755,19.59,24.955,19.79), (42.265,19.935,42.465,20.135), (42.665,19.935,42.865,20.135), (24.355,19.99,24.555,20.19), (24.755,19.99,24.955,20.19), (26.74,25.225,26.94,25.425), (27.14,25.225,27.34,25.425), (26.74,25.625,26.94,25.825), (27.14,25.625,27.34,25.825), (49.86,25.635,50.06,25.835), (28.865,31.12,29.065,31.32), (29.265,31.12,29.465,31.32), (47.98,31.2,48.18,31.4), (48.38,31.2,48.58,31.4), (28.865,31.52,29.065,31.72), (29.265,31.52,29.465,31.72), (47.98,31.6,48.18,31.8), (48.38,31.6,48.58,31.8)])
R(db_mixer, met3, [(9.985,-25.065,11.035,-25.04), (9.985,-25.04,11.98,-24.04), (36.72,-24.145,38.58,-23.415), (9.985,-24.04,11.035,-24.015), (12.7,-22.305,13.51,-21.735), (60.73,-22.285,61.48,-21.655), (36.81,-21.205,38.47,-20.495), (60.71,-20.895,61.48,-19.525), (13.24,-19.385,14.37,-18.795), (36.83,-16.635,38.45,-15.945), (13.22,-14.785,14.35,-14.255), (35.63,-8.025,36.26,-7.505), (39.62,-5.305,40.36,-4.785), (44.22,-2.505,45.38,-1.455), (31.22,-2.375,32.11,-1.405), (35.72,-2.015,36.32,-1.485), (34.04,-1.545,35.09,-1.025), (5.355,0.525,6.405,0.55), (5.355,0.55,7.26,1.55), (35.56,0.655,36.29,1.145), (5.355,1.55,6.405,1.575), (14.92,15.405,15.89,16.495), (59.16,18.145,59.81,18.645), (12.92,18.555,14.66,19.565), (33.14,19.305,34.2,20.445), (24.17,19.345,25.14,20.435), (42.03,19.365,43.1,20.305), (51.64,19.465,52.98,20.255), (60.19,20.065,61.96,20.885), (26.56,25.075,27.52,25.975), (49.67,25.505,50.25,25.965), (28.63,30.965,29.7,31.875), (47.74,30.985,48.82,32.015)])
A(db_mixer, via3, 36.95, -23.88, 0.2, 0.2, 4, 1, 0.4, 0)
A(db_mixer, via3, 36.94, -20.95, 0.2, 0.2, 4, 2, 0.4, 4.56)
A(db_mixer, via3, 60.995, -20.71, 0.2, 0.2, 1, 3, 0, 0.4)
A(db_mixer, via3, 13.09, 18.76, 0.2, 0.2, 4, 2, 0.4, 0.4)
A(db_mixer, via3, 51.81, 19.56, 0.2, 0.2, 3, 2, 0.4, 0.4)
A(db_mixer, via3, 60.375, 20.175, 0.2, 0.2, 4, 2, 0.4, 0.4)
R(db_mixer, via3, [(11.15,-24.84,11.35,-24.64), (11.55,-24.84,11.75,-24.64), (11.15,-24.44,11.35,-24.24), (11.55,-24.44,11.75,-24.24), (13.005,-22.12,13.205,-21.92), (61.005,-22.07,61.205,-21.87), (13.505,-19.19,13.705,-18.99), (13.905,-19.19,14.105,-18.99), (13.485,-14.62,13.685,-14.42), (13.885,-14.62,14.085,-14.42), (35.845,-7.865,36.045,-7.665), (39.89,-5.145,40.09,-4.945), (44.5,-2.28,44.7,-2.08), (44.9,-2.28,45.1,-2.08), (31.365,-2.19,31.565,-1.99), (31.765,-2.19,31.965,-1.99), (44.5,-1.88,44.7,-1.68), (44.9,-1.88,45.1,-1.68), (35.92,-1.85,36.12,-1.65), (31.365,-1.79,31.565,-1.59), (31.765,-1.79,31.965,-1.59), (34.265,-1.385,34.465,-1.185), (34.665,-1.385,34.865,-1.185), (6.43,0.75,6.63,0.95), (6.83,0.75,7.03,0.95), (35.825,0.8,36.025,1), (6.43,1.15,6.63,1.35), (6.83,1.15,7.03,1.35), (15.105,15.65,15.305,15.85), (15.505,15.65,15.705,15.85), (15.105,16.05,15.305,16.25), (15.505,16.05,15.705,16.25), (59.385,18.295,59.585,18.495), (42.265,19.535,42.465,19.735), (42.665,19.535,42.865,19.735), (33.37,19.575,33.57,19.775), (33.77,19.575,33.97,19.775), (24.355,19.59,24.555,19.79), (24.755,19.59,24.955,19.79), (42.265,19.935,42.465,20.135), (42.665,19.935,42.865,20.135), (33.37,19.975,33.57,20.175), (33.77,19.975,33.97,20.175), (24.355,19.99,24.555,20.19), (24.755,19.99,24.955,20.19), (26.74,25.225,26.94,25.425), (27.14,25.225,27.34,25.425), (26.74,25.625,26.94,25.825), (27.14,25.625,27.34,25.825), (49.86,25.635,50.06,25.835), (28.865,31.12,29.065,31.32), (29.265,31.12,29.465,31.32), (47.98,31.2,48.18,31.4), (48.38,31.2,48.58,31.4), (28.865,31.52,29.065,31.72), (29.265,31.52,29.465,31.72), (47.98,31.6,48.18,31.8), (48.38,31.6,48.58,31.8)])
R(db_mixer, met4, [(10.945,-25.045,11.955,-25.04), (10.945,-25.04,38.11,-24.125), (10.945,-24.125,38.535,-24.04), (10.945,-24.04,11.955,-24.035), (12.62,-24.04,38.535,-23.54), (12.62,-23.54,14.12,-19.365), (36.61,-23.54,38.535,-23.435), (36.61,-23.435,38.11,-21.185), (60.32,-23.23,61.82,-20.55), (36.61,-21.185,38.425,-20.55), (36.61,-20.55,61.82,-19.05), (12.62,-19.365,14.325,-18.815), (36.61,-19.05,38.11,-16.615), (55.05,-19.05,56.55,-2.8), (12.62,-18.815,14.12,-14.765), (36.61,-16.615,38.405,-15.965), (36.61,-15.965,38.11,-14.71), (12.62,-14.765,14.305,-14.275), (12.62,-14.275,14.12,-13.31), (31.09,-8.58,44.79,-7.08), (31.09,-7.08,32.59,-2.46), (43.29,-7.08,44.79,-2.8), (39.17,-5.86,40.81,0.6), (43.29,-2.8,57.26,-1.3), (31.09,-2.46,36.33,-1.46), (31.09,-1.46,35.045,-1.44), (35.72,-1.46,36.33,-1.44), (31.09,-1.44,32.59,-0.87), (34.085,-1.44,35.045,-1.045), (55.76,-1.3,57.26,17.91), (6.225,0.545,7.235,0.55), (6.225,0.55,8.92,0.6), (6.225,0.6,40.81,1.55), (6.225,1.55,7.235,1.555), (7.79,1.55,40.81,2.24), (7.79,2.24,9.43,20.79), (15.35,15.33,18.1,15.425), (14.965,15.425,18.1,16.475), (15.35,16.475,18.1,16.83), (16.6,16.83,18.1,19.36), (55.76,17.91,59.79,19.36), (12.965,18.575,14.615,18.71), (12.96,18.71,14.615,19.545), (33.185,19.325,34.155,19.36), (16.6,19.36,59.79,19.41), (16.6,19.41,57.26,20.86), (12.96,19.545,14.6,20.79), (60.235,20.085,61.915,20.865), (7.79,20.79,14.6,22.43), (26.32,20.86,27.82,26.19), (49.5,20.86,51,26.73), (60.26,20.865,61.9,30.66), (12.96,22.43,14.6,30.66), (12.96,30.66,61.9,32.3)])
R(db_mixer, nsdm, [(15.085,-16.855,15.625,-16.545)])
db_mixer.add(gdstk.Reference(sky130_fd_pr__res_high_p, (61.085,-14.27)))
db_mixer.add(gdstk.Reference(sky130_fd_pr__res_high_p, (61.085,11.48)))
db_mixer.add(gdstk.Reference(c_sky130_fd_pr__res_high_p, (13.805,5.28)))
db_mixer.add(gdstk.Reference(c_sky130_fd_pr__res_high_p_, (48.275,27.255)))
db_mixer.add(gdstk.Reference(c_sky130_fd_pr__res_high_p_, (29.095,27.255)))
db_mixer.add(gdstk.Reference(sky130_fd_pr__nfet_01v8_, (52.42,13.33)))
db_mixer.add(gdstk.Reference(sky130_fd_pr__nfet_01v8_, (42.58,13.25)))
db_mixer.add(gdstk.Reference(c_sky130_fd_pr__nfet_01v8_, (38.1,-18.585), rotation=3*pi/2))
db_mixer.add(gdstk.Reference(c_sky130_fd_pr__nfet_01v8__, (13.78,-16.815), rotation=3*pi/2))
db_mixer.add(gdstk.Reference(sky130_fd_pr__nfet_01v8_, (33.62,13.25)))
db_mixer.add(gdstk.Reference(sky130_fd_pr__nfet_01v8_, (24.66,13.25)))
db_mixer.add(gdstk.Reference(sky130_fd_pr__nfet_01v8_, (51.65,-2.02), rotation=3*pi/2))
db_mixer.add(gdstk.Reference(sky130_fd_pr__nfet_01v8_, (24.55,-2.02), rotation=3*pi/2))
db_mixer.add(gdstk.Reference(sky130_fd_sc_hd__inv_1, (37.41,-7.76)))
db_mixer.add(gdstk.Reference(sky130_fd_sc_hd__inv_1, (37.41,-1.76)))
db_mixer.add(gdstk.Reference(sky130_fd_sc_hd__tapvpwr, (36.57,-7.76)))
db_mixer.add(gdstk.Reference(sky130_fd_sc_hd__tapvpwr, (36.57,-1.76)))
db_mixer.add(gdstk.Reference(sky130_fd_pr__diode_pw2n, (34.53,-0.51)))
db_mixer.add(gdstk.Label('V2R', (47.46,4.445), layer=68, texttype=5))
db_mixer.add(gdstk.Label('V1', (38.202,-9.995), layer=68, texttype=5))
db_mixer.add(gdstk.Label('LO_N', (33.11,2.22), layer=68, texttype=5))
db_mixer.add(gdstk.Label('LO_P', (41.95,0.475), layer=68, texttype=5))
db_mixer.add(gdstk.Label('RF_N', (61.125,-1.5), layer=68, texttype=5))
db_mixer.add(gdstk.Label('BIAS0', (18.98,-14.955), layer=68, texttype=5))
db_mixer.add(gdstk.Label('VDD', (4.1,1.05), layer=68, texttype=5))
db_mixer.add(gdstk.Label('VSS', (8.47,-24.54), layer=68, texttype=5))
db_mixer.add(gdstk.Label('LOIN', (33.18,-0.58), layer=68, texttype=5))
db_mixer.add(gdstk.Label('IFOUT_N', (41.69,25.72), layer=68, texttype=5))
db_mixer.add(gdstk.Label('IFOUT_P', (36.32,25.72), layer=68, texttype=5))
db_mixer.add(gdstk.Label('RF_P', (17,-2.23), layer=68, texttype=5))

lib.write_gds('db_mixer.gds')
